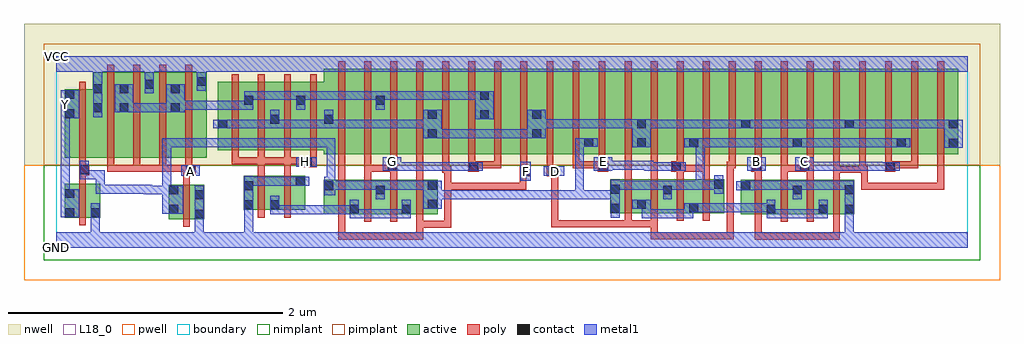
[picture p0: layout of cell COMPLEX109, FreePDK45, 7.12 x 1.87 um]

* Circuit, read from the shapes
.subckt COMPLEX109 A B C D E F G GND H VCC Y
M1 GND n1 Y VSUBS nfet w=0.25u l=0.05u
M2 GND A n1 VSUBS nfet w=0.25u l=0.05u
M3 n2 H GND VSUBS nfet w=0.25u l=0.05u m=2
M4 n2 F n1 VSUBS nfet w=0.25u l=0.05u m=2
M5 n1 G n2 VSUBS nfet w=0.25u l=0.05u m=2
M6 n3 D n1 VSUBS nfet w=0.25u l=0.05u m=2
M7 n3 E n1 VSUBS nfet w=0.25u l=0.05u m=2
M8 n3 B GND VSUBS nfet w=0.25u l=0.05u m=2
M9 GND C n3 VSUBS nfet w=0.25u l=0.05u m=2
M10 VCC n1 Y n4 pfet w=0.5u l=0.05u
M11 n5 A VCC n4 pfet w=0.625u l=0.05u m=4
M12 n5 H n6 n4 pfet w=0.5u l=0.05u m=4
M13 n7 F n6 n4 pfet w=0.625u l=0.05u
M14 n5 G n7 n4 pfet w=0.625u l=0.05u
M15 n8 G n5 n4 pfet w=0.625u l=0.05u
M16 n6 F n8 n4 pfet w=0.625u l=0.05u
M17 n9 F n6 n4 pfet w=0.625u l=0.05u
M18 n5 G n9 n4 pfet w=0.625u l=0.05u
M19 n10 G n5 n4 pfet w=0.625u l=0.05u
M20 n6 F n10 n4 pfet w=0.625u l=0.05u
M21 n11 D n6 n4 pfet w=0.625u l=0.05u
M22 n1 E n11 n4 pfet w=0.625u l=0.05u
M23 n12 E n1 n4 pfet w=0.625u l=0.05u
M24 n6 D n12 n4 pfet w=0.625u l=0.05u
M25 n13 D n6 n4 pfet w=0.625u l=0.05u
M26 n1 E n13 n4 pfet w=0.625u l=0.05u
M27 n14 E n1 n4 pfet w=0.625u l=0.05u
M28 n6 D n14 n4 pfet w=0.625u l=0.05u
M29 n15 B n6 n4 pfet w=0.625u l=0.05u
M30 n1 C n15 n4 pfet w=0.625u l=0.05u
M31 n16 C n1 n4 pfet w=0.625u l=0.05u
M32 n6 B n16 n4 pfet w=0.625u l=0.05u
M33 n17 B n6 n4 pfet w=0.625u l=0.05u
M34 n1 C n17 n4 pfet w=0.625u l=0.05u
M35 n18 C n1 n4 pfet w=0.625u l=0.05u
M36 n6 B n18 n4 pfet w=0.625u l=0.05u
.ends

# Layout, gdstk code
import gdstk
lib = gdstk.Library(unit=1e-6, precision=1e-09)
def R(c, l, rs):  # rectangles x0, y0, x1, y1
    for r in rs: c.add(gdstk.rectangle(r[:2], r[2:], *l))
def A(c, l, x, y, w, h, nx, ny, dx, dy):  # array of equal rectangles
    R(c, l, [(x+i*dx, y+j*dy, x+i*dx+w, y+j*dy+h) for i in range(nx) for j in range(ny)])
active = (1, 0)
pwell = (2, 0)
nwell = (3, 0)
nimplant = (4, 0)
pimplant = (5, 0)
poly = (9, 0)
contact = (10, 0)
metal1 = (11, 0)
L18_0 = (18, 0)
boundary = (235, 0)

complex109 = lib.new_cell('COMPLEX109')
A(complex109, active, 2.137, 0.247, 0.265, 0.25, 3, 1, 0.19, 0)
A(complex109, active, 5.177, 0.247, 0.265, 0.25, 3, 1, 0.19, 0)
A(complex109, active, 4.042, 0.252, 0.265, 0.25, 3, 1, 0.19, 0)
A(complex109, active, 2.177, 0.682, 0.225, 0.625, 5, 1, 0.38, 0)
A(complex109, active, 2.327, 0.682, 0.23, 0.625, 5, 1, 0.38, 0)
A(complex109, active, 4.077, 0.682, 0.23, 0.625, 3, 1, 0.38, 0)
A(complex109, active, 4.232, 0.682, 0.225, 0.625, 3, 1, 0.38, 0)
A(complex109, active, 5.217, 0.682, 0.225, 0.625, 4, 1, 0.38, 0)
A(complex109, active, 5.367, 0.682, 0.23, 0.625, 3, 1, 0.38, 0)
A(complex109, active, 1.177, 0.712, 0.265, 0.5, 3, 1, 0.19, 0)
R(complex109, active, [(0.82,0.21,1.08,0.46), (1.005,0.21,1.08,0.46), (0.062,0.22,0.137,0.47), (0.062,0.22,0.322,0.47), (0.247,0.22,0.322,0.47), (0.82,0.245,0.895,0.46), (1.952,0.247,2.212,0.497), (2.137,0.247,2.212,0.405), (2.517,0.247,2.592,0.387), (4.992,0.247,5.252,0.497), (5.177,0.247,5.252,0.405), (5.557,0.247,5.632,0.387), (5.747,0.247,5.822,0.497), (4.042,0.252,4.117,0.502), (4.612,0.252,4.872,0.502), (4.612,0.255,4.687,0.467), (1.367,0.277,1.442,0.527), (1.367,0.277,1.632,0.527), (1.557,0.277,1.817,0.527), (1.557,0.277,1.632,0.392), (2.707,0.28,2.782,0.497), (4.232,0.282,4.307,0.387), (1.742,0.297,1.817,0.527), (1.952,0.297,2.027,0.497), (2.327,0.297,2.402,0.467), (4.422,0.297,4.497,0.46), (4.797,0.297,4.872,0.502), (4.992,0.297,5.067,0.497), (5.367,0.297,5.442,0.497), (0.062,0.657,0.342,1.157), (0.062,0.657,0.137,1.157), (0.267,0.657,0.532,1.282), (0.457,0.657,0.717,1.282), (0.642,0.657,0.907,1.282), (0.832,0.657,1.097,1.282), (0.457,0.682,0.532,1.2), (0.642,0.682,0.717,1.282), (0.832,0.682,0.907,1.2), (1.022,0.682,1.097,1.282), (1.952,0.682,2.177,1.307), (2.327,0.682,2.402,1.2), (2.707,0.682,2.782,1.07), (3.087,0.682,3.162,1.2), (3.467,0.682,3.542,1.2), (3.847,0.682,3.922,1.07), (4.232,0.682,4.307,1.2), (4.612,0.682,4.687,1.07), (4.992,0.682,5.067,1.2), (5.367,0.682,5.442,1.07), (5.747,0.682,5.822,1.2), (6.127,0.682,6.202,1.07), (6.507,0.682,6.582,1.2), (1.177,0.712,1.252,1.047), (1.747,0.712,2.027,1.212), (1.367,0.72,1.442,1.157), (1.747,0.772,1.822,1.157), (0.267,0.807,0.342,1.282), (1.557,0.807,1.632,1.07), (1.952,0.807,2.027,1.07)])
R(complex109, pwell, [(-0.235,-0.235,6.885,0.602)])
R(complex109, nwell, [(-0.235,0.602,6.885,1.635)])
R(complex109, nimplant, [(-0.09,-0.09,6.74,0.602)])
R(complex109, pimplant, [(-0.09,0.602,6.74,1.49)])
A(complex109, poly, 2.057, 0.192, 0.05, 0.36, 4, 1, 0.19, 0)
A(complex109, poly, 5.097, 0.192, 0.05, 0.36, 4, 1, 0.19, 0)
A(complex109, poly, 4.147, 0.197, 0.05, 0.36, 4, 1, 0.19, 0)
A(complex109, poly, 5.097, 0.502, 0.05, 0.105, 3, 1, 0.19, 0)
A(complex109, poly, 0.372, 0.557, 0.05, 0.095, 4, 1, 0.19, 0)
A(complex109, poly, 0.372, 0.602, 0.05, 0.735, 4, 1, 0.19, 0)
A(complex109, poly, 1.282, 0.612, 0.05, 0.05, 3, 1, 0.19, 0)
A(complex109, poly, 1.282, 0.612, 0.05, 0.095, 4, 1, 0.19, 0)
A(complex109, poly, 2.057, 0.627, 0.05, 0.735, 24, 1, 0.19, 0)
A(complex109, poly, 1.282, 0.657, 0.05, 0.61, 4, 1, 0.19, 0)
R(complex109, poly, [(2.057,0.06,2.107,0.11), (2.057,0.06,2.107,0.11), (2.057,0.06,2.107,0.11), (2.057,0.06,2.107,0.242), (2.057,0.06,2.33,0.11), (2.28,0.06,2.33,0.11), (2.28,0.06,2.33,0.11), (2.28,0.06,2.33,0.11), (2.28,0.06,2.545,0.11), (2.495,0.06,2.545,0.11), (2.495,0.06,2.545,0.11), (2.495,0.06,2.545,0.11), (2.495,0.06,2.677,0.11), (2.627,0.06,2.677,0.197), (5.097,0.06,5.147,0.11), (5.097,0.06,5.147,0.11), (5.097,0.06,5.147,0.11), (5.097,0.06,5.28,0.11), (5.097,0.06,5.147,0.242), (5.23,0.06,5.28,0.11), (5.23,0.06,5.28,0.11), (5.23,0.06,5.28,0.11), (5.23,0.06,5.585,0.11), (5.535,0.06,5.585,0.11), (5.535,0.06,5.585,0.11), (5.535,0.06,5.585,0.11), (5.535,0.06,5.717,0.11), (5.667,0.06,5.717,0.11), (5.667,0.06,5.717,0.242), (4.337,0.065,4.52,0.115), (4.337,0.065,4.387,0.202), (4.47,0.065,4.52,0.115), (4.47,0.065,4.52,0.115), (4.47,0.065,4.52,0.115), (4.47,0.065,4.81,0.115), (4.76,0.065,4.81,0.115), (4.76,0.065,4.81,0.115), (4.76,0.065,4.81,0.115), (4.76,0.065,4.942,0.115), (4.892,0.065,4.942,0.115), (4.892,0.065,4.942,0.115), (4.892,0.065,4.942,0.115), (4.892,0.065,4.942,0.63), (2.627,0.147,2.677,0.242), (2.627,0.147,2.882,0.197), (2.832,0.147,2.882,0.197), (2.832,0.147,2.882,0.197), (2.832,0.147,2.882,0.197), (2.832,0.147,2.882,0.475), (3.612,0.152,3.662,0.202), (3.612,0.152,3.662,0.202), (3.612,0.152,3.662,0.202), (3.612,0.152,3.662,0.202), (3.612,0.152,3.662,0.202), (3.612,0.152,3.662,0.202), (3.612,0.152,3.662,0.202), (3.612,0.152,3.87,0.202), (3.612,0.152,3.662,0.572), (3.82,0.152,3.87,0.202), (3.82,0.152,3.87,0.202), (3.82,0.152,3.87,0.202), (3.82,0.152,4.065,0.202), (4.015,0.152,4.065,0.202), (4.015,0.152,4.197,0.202), (4.147,0.152,4.197,0.202), (4.147,0.152,4.197,0.202), (4.147,0.152,4.197,0.202), (4.147,0.152,4.197,0.247), (4.147,0.152,4.387,0.202), (4.337,0.152,4.387,0.202), (4.337,0.152,4.387,0.202), (4.337,0.152,4.387,0.247), (0.925,0.155,0.975,0.515), (0.167,0.165,0.217,0.525), (1.472,0.222,1.522,0.582), (1.662,0.222,1.712,0.582), (2.832,0.425,2.882,0.475), (2.832,0.425,2.882,0.475), (2.832,0.425,2.882,0.475), (2.832,0.425,3.015,0.475), (2.832,0.425,2.882,0.597), (2.965,0.425,3.015,0.475), (2.965,0.425,3.015,0.475), (2.965,0.425,3.015,0.475), (2.965,0.425,3.215,0.475), (3.165,0.425,3.215,0.475), (3.165,0.425,3.215,0.475), (3.165,0.425,3.215,0.475), (3.165,0.425,3.43,0.475), (3.38,0.425,3.43,0.475), (3.38,0.425,3.43,0.475), (3.38,0.425,3.43,0.475), (3.38,0.425,3.43,0.572), (5.872,0.425,5.922,0.475), (5.872,0.425,5.922,0.475), (5.872,0.425,5.922,0.475), (5.872,0.425,5.922,0.475), (5.872,0.425,5.922,0.475), (5.872,0.425,6.055,0.475), (5.872,0.425,5.922,0.597), (6.005,0.425,6.055,0.475), (6.005,0.425,6.345,0.475), (6.295,0.425,6.345,0.475), (6.295,0.425,6.345,0.475), (6.295,0.425,6.345,0.475), (6.295,0.425,6.477,0.475), (6.427,0.425,6.477,0.677), (6.427,0.425,6.477,0.475), (6.427,0.425,6.477,0.475), (6.427,0.425,6.477,0.475), (6.427,0.425,6.477,0.475), (6.427,0.425,6.477,0.475), (6.427,0.425,6.477,0.475), (6.427,0.425,6.477,0.475), (0.925,0.465,0.975,0.582), (0.167,0.475,0.217,0.582), (2.057,0.502,2.107,0.597), (2.247,0.502,2.297,0.607), (2.437,0.502,2.487,0.607), (2.627,0.502,2.677,0.632), (5.667,0.502,5.717,0.597), (4.147,0.507,4.197,0.602), (4.337,0.507,4.387,0.632), (4.527,0.507,4.577,0.607), (4.717,0.507,4.767,0.607), (3.38,0.522,3.43,0.572), (3.38,0.522,3.43,0.572), (3.38,0.522,3.455,0.597), (3.577,0.522,3.662,0.597), (0.167,0.532,0.242,0.607), (0.925,0.532,1.017,0.607), (1.472,0.532,1.522,0.662), (1.662,0.532,1.712,0.662), (2.057,0.547,2.107,0.597), (2.057,0.547,2.107,0.677), (2.817,0.547,2.867,0.677), (2.817,0.547,2.882,0.597), (3.387,0.547,3.437,0.677), (3.577,0.547,3.627,0.677), (5.667,0.547,5.717,0.597), (5.667,0.547,5.717,0.597), (5.667,0.547,5.717,0.597), (5.667,0.547,5.717,0.677), (5.667,0.547,5.907,0.597), (5.857,0.547,5.907,0.677), (5.857,0.547,5.922,0.597), (4.147,0.552,4.197,0.602), (4.147,0.552,4.197,0.677), (0.167,0.557,0.217,0.652), (0.372,0.557,0.422,0.607), (0.372,0.557,0.422,0.607), (0.372,0.557,0.422,0.607), (0.372,0.557,0.612,0.607), (0.562,0.557,0.612,0.607), (0.562,0.557,0.612,0.607), (0.562,0.557,0.612,0.607), (0.562,0.557,0.802,0.607), (0.752,0.557,0.802,0.607), (0.752,0.557,0.975,0.607), (0.925,0.557,0.975,0.607), (0.925,0.557,0.975,0.607), (2.247,0.557,2.297,0.607), (2.247,0.557,2.297,0.607), (2.247,0.557,2.297,0.607), (2.247,0.557,2.462,0.607), (2.247,0.557,2.297,0.677), (2.412,0.557,2.487,0.632), (3.007,0.557,3.082,0.632), (3.952,0.557,4.027,0.632), (4.487,0.557,4.577,0.632), (4.527,0.557,4.767,0.607), (4.717,0.557,4.767,0.607), (4.717,0.557,4.767,0.607), (4.717,0.557,4.767,0.607), (4.717,0.557,4.767,0.677), (5.072,0.557,5.147,0.632), (5.287,0.557,5.337,0.607), (5.287,0.557,5.337,0.607), (5.287,0.557,5.337,0.607), (5.287,0.557,5.472,0.607), (5.287,0.557,5.337,0.677), (5.422,0.557,5.527,0.632), (6.047,0.557,6.122,0.632), (4.892,0.58,4.942,0.63), (4.892,0.58,4.942,0.63), (4.892,0.58,4.942,0.63), (4.892,0.58,4.942,0.63), (4.892,0.58,4.957,0.63), (4.907,0.58,4.957,0.677), (2.437,0.582,2.487,0.677), (2.627,0.582,2.677,0.632), (2.627,0.582,2.677,0.677), (3.007,0.582,3.057,0.677), (3.032,0.582,3.247,0.632), (3.197,0.582,3.247,0.632), (3.197,0.582,3.247,0.632), (3.197,0.582,3.247,0.632), (3.197,0.582,3.247,0.677), (3.767,0.582,3.817,0.632), (3.767,0.582,3.817,0.632), (3.767,0.582,3.817,0.632), (3.767,0.582,3.817,0.677), (3.767,0.582,4.002,0.632), (3.957,0.582,4.007,0.677), (4.337,0.582,4.387,0.632), (4.337,0.582,4.387,0.677), (4.527,0.582,4.577,0.677), (5.097,0.582,5.147,0.677), (5.477,0.582,5.527,0.677), (6.047,0.582,6.097,0.677), (6.072,0.582,6.122,0.632), (6.072,0.582,6.122,0.632), (6.072,0.582,6.287,0.632), (6.237,0.582,6.287,0.632), (6.237,0.582,6.287,0.677), (1.795,0.587,1.902,0.662), (0.167,0.602,0.217,1.212), (1.282,0.612,1.332,0.662), (1.282,0.612,1.332,0.662), (1.282,0.612,1.522,0.662), (1.472,0.612,1.712,0.662), (1.662,0.612,1.712,0.662), (1.662,0.612,1.712,0.662), (1.662,0.612,1.845,0.662), (1.795,0.612,1.845,0.662), (1.795,0.612,1.845,0.662)])
R(complex109, contact, [(1.01,0.215,1.075,0.28), (0.067,0.225,0.132,0.29), (0.252,0.225,0.317,0.29), (0.825,0.25,0.89,0.315), (2.142,0.252,2.207,0.317), (2.522,0.252,2.587,0.317), (5.182,0.252,5.247,0.317), (5.562,0.252,5.627,0.317), (5.752,0.252,5.817,0.317), (4.047,0.257,4.112,0.322), (4.617,0.26,4.682,0.325), (1.372,0.282,1.437,0.347), (1.562,0.282,1.627,0.347), (2.712,0.285,2.777,0.35), (4.237,0.287,4.302,0.352), (1.01,0.355,1.075,0.42), (0.067,0.365,0.132,0.43), (0.825,0.39,0.89,0.455), (2.332,0.39,2.397,0.455), (4.427,0.39,4.492,0.455), (5.372,0.39,5.437,0.455), (5.752,0.392,5.817,0.457), (4.047,0.397,4.112,0.462), (1.957,0.42,2.022,0.485), (1.372,0.422,1.437,0.487), (4.997,0.422,5.062,0.487), (2.712,0.425,2.777,0.49), (4.802,0.432,4.867,0.497), (1.747,0.452,1.812,0.517), (3.385,0.527,3.45,0.592), (3.592,0.527,3.657,0.592), (0.172,0.537,0.237,0.602), (0.947,0.537,1.012,0.602), (2.417,0.562,2.482,0.627), (3.012,0.562,3.077,0.627), (3.957,0.562,4.022,0.627), (4.492,0.562,4.557,0.627), (5.077,0.562,5.142,0.627), (5.427,0.562,5.492,0.627), (6.052,0.562,6.117,0.627), (1.8,0.592,1.865,0.657), (6.512,0.732,6.577,0.797), (4.237,0.735,4.302,0.8), (4.617,0.735,4.682,0.8), (5.372,0.735,5.437,0.8), (6.132,0.735,6.197,0.8), (3.852,0.737,3.917,0.802), (2.712,0.802,2.777,0.867), (3.472,0.802,3.537,0.867), (1.182,0.872,1.247,0.937), (4.997,0.872,5.062,0.937), (5.752,0.872,5.817,0.937), (6.512,0.872,6.577,0.937), (4.237,0.875,4.302,0.94), (1.562,0.907,1.627,0.972), (1.957,0.907,2.022,0.972), (3.092,0.94,3.157,1.005), (2.712,0.942,2.777,1.007), (3.472,0.942,3.537,1.007), (0.067,0.947,0.132,1.012), (0.272,0.99,0.337,1.055), (0.462,0.99,0.527,1.055), (0.837,0.99,0.902,1.055), (1.372,1.045,1.437,1.11), (1.752,1.045,1.817,1.11), (2.332,1.045,2.397,1.11), (3.092,1.08,3.157,1.145), (0.067,1.087,0.132,1.152), (0.272,1.13,0.337,1.195), (0.462,1.13,0.527,1.195), (0.837,1.13,0.902,1.195), (0.647,1.162,0.712,1.227), (1.027,1.182,1.092,1.247)])
R(complex109, metal1, [(0,0,6.65,0.115), (0.252,0.05,0.317,0.255), (1.01,0.05,1.075,0.245), (1.372,0.05,1.437,0.115), (1.372,0.05,1.437,0.115), (1.372,0.05,1.437,0.312), (5.752,0.05,5.817,0.115), (5.752,0.05,5.817,0.115), (5.752,0.05,5.817,0.282), (1.01,0.18,1.075,0.245), (1.01,0.18,1.075,0.245), (1.01,0.18,1.075,0.245), (1.01,0.18,1.075,0.245), (1.01,0.18,1.075,0.455), (0.252,0.19,0.317,0.255), (0.252,0.19,0.317,0.255), (0.252,0.19,0.317,0.255), (0.252,0.19,0.317,0.255), (0.252,0.19,0.317,0.325), (2.142,0.217,2.207,0.282), (2.142,0.217,2.207,0.282), (2.142,0.217,2.207,0.352), (2.142,0.217,2.397,0.282), (2.332,0.217,2.397,0.282), (2.332,0.217,2.397,0.282), (2.332,0.217,2.397,0.282), (2.332,0.217,2.587,0.282), (2.522,0.217,2.587,0.352), (4.272,0.217,4.337,0.282), (4.272,0.217,4.337,0.282), (4.272,0.217,4.337,0.282), (4.272,0.217,4.337,0.352), (4.272,0.217,4.51,0.282), (4.445,0.217,4.51,0.282), (4.445,0.217,4.51,0.282), (4.445,0.217,4.51,0.282), (4.445,0.217,4.647,0.282), (4.582,0.217,4.647,0.282), (4.582,0.217,4.647,0.325), (5.182,0.217,5.247,0.282), (5.182,0.217,5.247,0.282), (5.182,0.217,5.247,0.352), (5.182,0.217,5.49,0.282), (5.425,0.217,5.49,0.282), (5.425,0.217,5.49,0.282), (5.425,0.217,5.49,0.282), (5.425,0.217,5.627,0.282), (5.562,0.217,5.627,0.352), (5.752,0.217,5.817,0.282), (5.752,0.217,5.817,0.282), (5.752,0.217,5.817,0.492), (4.047,0.222,4.112,0.497), (0.032,0.225,0.167,0.43), (1.372,0.247,1.437,0.312), (1.372,0.247,1.437,0.312), (1.372,0.247,1.437,0.522), (1.562,0.247,1.627,0.312), (1.562,0.247,1.627,0.312), (1.562,0.247,1.765,0.312), (1.562,0.247,1.627,0.382), (1.7,0.247,1.765,0.312), (1.7,0.247,1.765,0.312), (1.7,0.247,1.765,0.312), (1.7,0.247,2.07,0.312), (2.005,0.247,2.07,0.312), (2.005,0.247,2.07,0.312), (2.005,0.247,2.07,0.312), (2.005,0.247,2.207,0.312), (0.775,0.25,0.925,0.455), (4.582,0.26,4.717,0.325), (4.652,0.26,4.73,0.325), (4.665,0.26,4.73,0.325), (4.665,0.26,4.867,0.325), (4.802,0.26,4.867,0.325), (4.802,0.26,4.867,0.325), (4.802,0.26,4.867,0.325), (4.802,0.26,5.005,0.325), (4.94,0.26,5.005,0.325), (4.94,0.26,5.005,0.325), (4.94,0.26,5.005,0.325), (4.94,0.26,5.247,0.325), (2.677,0.285,2.812,0.49), (4.202,0.287,4.337,0.352), (2.332,0.355,2.397,0.49), (2.747,0.355,2.812,0.42), (2.747,0.355,2.812,0.42), (2.747,0.355,2.985,0.42), (2.92,0.355,2.985,0.42), (2.92,0.355,2.985,0.42), (2.92,0.355,2.985,0.42), (2.92,0.355,3.122,0.42), (3.057,0.355,3.122,0.42), (3.057,0.355,3.122,0.42), (3.057,0.355,3.122,0.42), (3.057,0.355,3.365,0.42), (3.3,0.355,3.365,0.42), (3.3,0.355,3.365,0.42), (3.3,0.355,3.365,0.42), (3.3,0.355,3.502,0.42), (3.437,0.355,3.502,0.42), (3.437,0.355,3.502,0.42), (3.437,0.355,3.502,0.42), (3.437,0.355,3.71,0.42), (3.645,0.355,3.71,0.42), (3.645,0.355,3.71,0.42), (3.645,0.355,3.71,0.42), (3.645,0.355,3.85,0.42), (3.785,0.355,3.85,0.42), (3.785,0.355,3.85,0.42), (3.785,0.355,3.85,0.42), (3.785,0.355,3.85,0.42), (3.785,0.355,3.85,0.42), (3.785,0.355,4.112,0.42), (3.785,0.355,3.85,0.802), (4.427,0.355,4.492,0.49), (5.372,0.355,5.437,0.49), (0.032,0.365,0.097,0.43), (0.032,0.365,0.097,0.43), (0.032,0.365,0.097,1.012), (1.957,0.385,2.037,0.52), (0.637,0.39,0.84,0.455), (0.637,0.39,0.702,0.462), (0.775,0.39,0.84,0.8), (0.29,0.397,0.355,0.462), (0.29,0.397,0.375,0.462), (0.29,0.397,0.355,0.567), (0.31,0.397,0.375,0.462), (0.31,0.397,0.512,0.462), (0.447,0.397,0.512,0.462), (0.447,0.397,0.512,0.462), (0.447,0.397,0.512,0.462), (0.447,0.397,0.702,0.462), (0.637,0.397,0.702,0.462), (0.637,0.397,0.702,0.462), (4.802,0.397,4.867,0.532), (4.962,0.422,5.097,0.487), (5.032,0.422,5.097,0.487), (5.032,0.422,5.097,0.49), (1.972,0.425,2.037,0.49), (1.972,0.425,2.037,0.49), (1.972,0.425,2.207,0.49), (2.142,0.425,2.207,0.49), (2.142,0.425,2.207,0.49), (2.142,0.425,2.207,0.49), (2.142,0.425,2.397,0.49), (2.332,0.425,2.535,0.49), (2.47,0.425,2.535,0.49), (2.47,0.425,2.535,0.49), (2.47,0.425,2.535,0.49), (2.47,0.425,2.672,0.49), (2.607,0.425,2.672,0.49), (2.607,0.425,2.742,0.49), (4.047,0.425,4.195,0.49), (4.13,0.425,4.195,0.49), (4.13,0.425,4.355,0.49), (4.29,0.425,4.355,0.49), (4.29,0.425,4.355,0.49), (4.29,0.425,4.355,0.49), (4.29,0.425,4.492,0.49), (4.427,0.425,4.492,0.49), (4.427,0.425,4.492,0.49), (4.427,0.425,4.73,0.49), (4.665,0.425,4.73,0.49), (4.665,0.425,4.73,0.49), (4.665,0.425,4.73,0.49), (4.665,0.425,4.73,0.49), (4.665,0.425,4.73,0.49), (4.665,0.425,4.867,0.49), (4.665,0.425,4.73,0.8), (5.032,0.425,5.265,0.49), (5.2,0.425,5.265,0.49), (5.2,0.425,5.265,0.49), (5.2,0.425,5.265,0.49), (5.2,0.425,5.437,0.49), (5.372,0.425,5.627,0.49), (5.562,0.425,5.627,0.49), (5.562,0.425,5.627,0.49), (5.562,0.425,5.627,0.49), (5.562,0.425,5.782,0.49), (5.717,0.425,5.782,0.492), (5.717,0.427,5.817,0.492), (5.752,0.427,5.817,0.492), (5.752,0.427,5.817,0.492), (1.712,0.452,1.847,0.52), (1.372,0.455,1.437,0.522), (1.372,0.455,1.627,0.52), (1.562,0.455,1.627,0.52), (1.562,0.455,1.627,0.52), (1.562,0.455,1.627,0.52), (1.562,0.455,1.777,0.52), (1.972,0.455,2.037,0.8), (1.372,0.457,1.437,0.522), (1.372,0.457,1.437,0.522), (1.372,0.457,1.437,0.522), (3.385,0.492,3.462,0.63), (0.172,0.502,0.237,0.637), (0.172,0.502,0.355,0.567), (0.29,0.502,0.355,0.567), (0.912,0.527,1.047,0.605), (3.557,0.527,3.707,0.595), (2.382,0.562,2.517,0.662), (2.452,0.562,2.605,0.627), (2.54,0.562,2.605,0.627), (2.54,0.562,2.675,0.627), (2.61,0.562,2.675,0.627), (2.61,0.562,2.812,0.627), (2.747,0.562,2.812,0.627), (2.747,0.562,2.812,0.627), (2.747,0.562,2.812,0.627), (2.747,0.562,2.95,0.627), (2.885,0.562,2.95,0.627), (2.885,0.562,3.042,0.627), (2.977,0.562,3.112,0.627), (3.922,0.562,4.057,0.662), (4.29,0.562,4.355,0.627), (4.29,0.562,4.355,0.627), (4.29,0.562,4.51,0.627), (4.29,0.562,4.355,0.635), (4.445,0.562,4.51,0.627), (4.445,0.562,4.522,0.627), (4.457,0.562,4.592,0.627), (5.042,0.562,5.177,0.662), (5.392,0.562,5.527,0.662), (5.96,0.562,6.082,0.627), (5.96,0.562,6.025,0.63), (6.017,0.562,6.152,0.627), (5.462,0.565,5.627,0.63), (5.562,0.565,5.627,0.63), (5.562,0.565,5.787,0.63), (5.722,0.565,5.787,0.63), (5.722,0.565,5.787,0.63), (5.722,0.565,5.787,0.63), (5.722,0.565,5.925,0.63), (5.86,0.565,5.925,0.63), (5.86,0.565,6.025,0.63), (3.992,0.57,4.057,0.635), (3.992,0.57,4.057,0.635), (3.992,0.57,4.195,0.635), (4.13,0.57,4.195,0.635), (4.13,0.57,4.355,0.635), (1.752,0.592,1.9,0.662), (6.477,0.732,6.612,0.937), (0.775,0.735,0.84,0.8), (0.775,0.735,0.84,0.8), (0.775,0.735,0.84,0.8), (0.775,0.735,0.88,0.8), (0.815,0.735,0.88,0.8), (0.815,0.735,1.075,0.8), (1.01,0.735,1.075,0.8), (1.01,0.735,1.075,0.8), (1.01,0.735,1.075,0.8), (1.01,0.735,1.212,0.8), (1.147,0.735,1.212,0.8), (1.147,0.735,1.437,0.8), (1.372,0.735,1.437,0.8), (1.372,0.735,1.437,0.8), (1.372,0.735,1.437,0.8), (1.372,0.735,1.627,0.8), (1.562,0.735,1.627,0.8), (1.562,0.735,1.627,0.8), (1.562,0.735,1.627,0.8), (1.562,0.735,1.765,0.8), (1.7,0.735,1.765,0.8), (1.7,0.735,1.765,0.8), (1.7,0.735,1.765,0.8), (1.7,0.735,2.037,0.8), (1.972,0.735,2.037,0.8), (1.972,0.735,2.037,0.8), (1.972,0.735,2.037,0.8), (4.202,0.735,4.337,0.94), (4.582,0.735,4.73,0.8), (4.665,0.735,4.73,0.8), (4.665,0.735,4.73,0.8), (4.665,0.735,4.867,0.8), (4.802,0.735,4.867,0.8), (4.802,0.735,4.867,0.8), (4.802,0.735,4.867,0.8), (4.802,0.735,5.11,0.8), (5.045,0.735,5.11,0.8), (5.045,0.735,5.11,0.8), (5.045,0.735,5.11,0.8), (5.045,0.735,5.265,0.8), (5.2,0.735,5.265,0.8), (5.2,0.735,5.265,0.8), (5.2,0.735,5.265,0.8), (5.2,0.735,5.402,0.8), (5.337,0.735,5.472,0.8), (5.407,0.735,5.645,0.8), (5.58,0.735,5.645,0.8), (5.58,0.735,5.645,0.8), (5.58,0.735,5.645,0.8), (5.58,0.735,5.787,0.8), (5.722,0.735,5.787,0.8), (5.722,0.735,5.787,0.8), (5.722,0.735,5.787,0.8), (5.722,0.735,5.925,0.8), (5.86,0.735,5.925,0.8), (5.86,0.735,6.025,0.8), (5.96,0.735,6.025,0.8), (5.96,0.735,6.162,0.8), (6.097,0.735,6.162,0.8), (6.097,0.735,6.162,0.8), (6.097,0.735,6.232,0.8), (3.785,0.737,3.952,0.802), (2.677,0.802,2.812,1.007), (2.747,0.802,2.812,0.867), (2.747,0.802,2.812,0.867), (2.747,0.802,2.985,0.867), (2.92,0.802,2.985,0.867), (2.92,0.802,2.985,0.867), (2.92,0.802,2.985,0.867), (2.92,0.802,3.122,0.867), (3.057,0.802,3.122,0.867), (3.057,0.802,3.122,0.867), (3.057,0.802,3.122,0.867), (3.057,0.802,3.26,0.867), (3.195,0.802,3.26,0.867), (3.195,0.802,3.26,0.867), (3.195,0.802,3.26,0.867), (3.195,0.802,3.502,0.867), (3.437,0.802,3.572,1.007), (1.147,0.872,1.282,0.937), (1.217,0.872,1.282,0.937), (1.217,0.872,1.282,0.937), (1.217,0.872,1.49,0.937), (1.425,0.872,1.49,0.937), (1.425,0.872,1.49,0.937), (1.425,0.872,1.49,0.937), (1.425,0.872,1.627,0.937), (1.562,0.872,1.627,0.937), (1.562,0.872,1.627,0.937), (1.562,0.872,1.765,0.937), (1.562,0.872,1.627,1.007), (1.7,0.872,1.765,0.937), (1.7,0.872,1.765,0.937), (1.7,0.872,1.765,0.937), (1.7,0.872,2.022,0.937), (1.957,0.872,2.022,1.007), (1.957,0.872,2.037,0.937), (1.972,0.872,2.037,0.937), (1.972,0.872,2.26,0.937), (2.195,0.872,2.26,0.937), (2.195,0.872,2.26,0.937), (2.195,0.872,2.26,0.937), (2.195,0.872,2.397,0.937), (2.332,0.872,2.397,0.937), (2.332,0.872,2.397,0.937), (2.332,0.872,2.397,0.937), (2.332,0.872,2.605,0.937), (2.54,0.872,2.605,0.937), (2.54,0.872,2.675,0.937), (2.61,0.872,2.675,0.937), (2.61,0.872,2.742,0.937), (4.272,0.872,4.337,0.937), (4.272,0.872,4.337,0.937), (4.272,0.872,4.51,0.937), (4.445,0.872,4.51,0.937), (4.445,0.872,4.51,0.937), (4.445,0.872,4.51,0.937), (4.445,0.872,4.73,0.937), (4.665,0.872,4.73,0.937), (4.665,0.872,4.73,0.937), (4.665,0.872,4.73,0.937), (4.665,0.872,4.867,0.937), (4.802,0.872,4.867,0.937), (4.802,0.872,4.867,0.937), (4.802,0.872,4.867,0.937), (4.802,0.872,5.027,0.937), (4.962,0.872,5.097,0.937), (5.032,0.872,5.097,0.937), (5.032,0.872,5.097,0.937), (5.032,0.872,5.265,0.937), (5.2,0.872,5.265,0.937), (5.2,0.872,5.265,0.937), (5.2,0.872,5.265,0.937), (5.2,0.872,5.49,0.937), (5.425,0.872,5.49,0.937), (5.425,0.872,5.49,0.937), (5.425,0.872,5.49,0.937), (5.425,0.872,5.645,0.937), (5.58,0.872,5.645,0.937), (5.58,0.872,5.782,0.937), (5.717,0.872,5.782,0.937), (5.717,0.872,5.782,0.937), (5.717,0.872,5.852,0.937), (5.787,0.872,5.925,0.937), (5.86,0.872,5.925,0.937), (5.86,0.872,6.025,0.937), (5.96,0.872,6.025,0.937), (5.96,0.872,6.162,0.937), (6.097,0.872,6.162,0.937), (6.097,0.872,6.162,0.937), (6.097,0.872,6.162,0.937), (6.097,0.872,6.3,0.937), (6.235,0.872,6.3,0.937), (6.235,0.872,6.3,0.937), (6.235,0.872,6.3,0.937), (6.235,0.872,6.542,0.937), (6.477,0.872,6.542,0.937), (6.477,0.872,6.542,0.937), (3.507,0.875,3.572,0.94), (3.507,0.875,3.572,0.94), (3.507,0.875,3.71,0.94), (3.645,0.875,3.71,0.94), (3.645,0.875,3.71,0.94), (3.645,0.875,3.71,0.94), (3.645,0.875,3.847,0.94), (3.782,0.875,3.847,0.94), (3.782,0.875,3.987,0.94), (3.922,0.875,3.987,0.94), (3.922,0.875,3.987,0.94), (3.922,0.875,3.987,0.94), (3.922,0.875,4.195,0.94), (4.13,0.875,4.195,0.94), (4.13,0.875,4.267,0.94), (3.057,0.94,3.192,1.145), (0.032,0.947,0.097,1.012), (0.032,0.947,0.097,1.012), (0.032,0.947,0.167,1.152), (0.272,0.955,0.337,1.23), (0.427,0.99,0.562,1.195), (0.497,0.99,0.562,1.055), (0.497,0.99,0.562,1.055), (0.497,0.99,0.7,1.055), (0.635,0.99,0.7,1.055), (0.635,0.99,0.7,1.055), (0.635,0.99,0.7,1.055), (0.635,0.99,0.867,1.055), (0.802,0.99,0.937,1.195), (0.872,1.01,0.937,1.075), (0.872,1.01,0.937,1.075), (0.872,1.01,1.075,1.075), (1.01,1.01,1.075,1.075), (1.01,1.01,1.075,1.075), (1.01,1.01,1.075,1.075), (1.01,1.01,1.212,1.075), (1.147,1.01,1.212,1.075), (1.147,1.01,1.437,1.075), (1.372,1.01,1.437,1.145), (1.752,1.01,1.817,1.145), (2.332,1.01,2.397,1.145), (1.372,1.08,1.437,1.145), (1.372,1.08,1.437,1.145), (1.372,1.08,1.627,1.145), (1.562,1.08,1.627,1.145), (1.562,1.08,1.627,1.145), (1.562,1.08,1.627,1.145), (1.562,1.08,1.817,1.145), (1.752,1.08,1.817,1.145), (1.752,1.08,1.817,1.145), (1.752,1.08,2.07,1.145), (2.005,1.08,2.07,1.145), (2.005,1.08,2.07,1.145), (2.005,1.08,2.07,1.145), (2.005,1.08,2.207,1.145), (2.142,1.08,2.207,1.145), (2.142,1.08,2.207,1.145), (2.142,1.08,2.207,1.145), (2.142,1.08,2.397,1.145), (2.332,1.08,2.397,1.145), (2.332,1.08,2.397,1.145), (2.332,1.08,2.605,1.145), (2.54,1.08,2.605,1.145), (2.54,1.08,2.672,1.145), (2.607,1.08,2.672,1.145), (2.607,1.08,2.812,1.145), (2.747,1.08,2.812,1.145), (2.747,1.08,2.812,1.145), (2.747,1.08,2.812,1.145), (2.747,1.08,2.95,1.145), (2.885,1.08,2.95,1.145), (2.885,1.08,2.95,1.145), (2.885,1.08,2.95,1.145), (2.885,1.08,3.122,1.145), (0.647,1.127,0.712,1.262), (1.027,1.147,1.092,1.282), (0.272,1.165,0.337,1.35), (0.647,1.197,0.712,1.35), (1.027,1.217,1.092,1.35), (0,1.285,6.65,1.4)])
R(complex109, L18_0, [(0,0,6.65,0.115), (0.252,0.05,0.317,0.255), (1.01,0.05,1.075,0.245), (1.372,0.05,1.437,0.115), (1.372,0.05,1.437,0.115), (1.372,0.05,1.437,0.312), (5.752,0.05,5.817,0.115), (5.752,0.05,5.817,0.115), (5.752,0.05,5.817,0.282), (1.01,0.18,1.075,0.245), (1.01,0.18,1.075,0.245), (1.01,0.18,1.075,0.245), (1.01,0.18,1.075,0.245), (1.01,0.18,1.075,0.455), (0.252,0.19,0.317,0.255), (0.252,0.19,0.317,0.255), (0.252,0.19,0.317,0.255), (0.252,0.19,0.317,0.255), (0.252,0.19,0.317,0.325), (5.752,0.217,5.817,0.282), (5.752,0.217,5.817,0.282), (5.752,0.217,5.817,0.492), (0.032,0.225,0.167,0.43), (1.372,0.247,1.437,0.312), (1.372,0.247,1.437,0.312), (1.372,0.247,1.437,0.522), (5.372,0.355,5.437,0.49), (0.032,0.365,0.097,0.43), (0.032,0.365,0.097,0.43), (0.032,0.365,0.097,1.012), (4.962,0.422,5.097,0.487), (5.032,0.422,5.097,0.487), (5.032,0.422,5.097,0.49), (5.032,0.425,5.265,0.49), (5.2,0.425,5.265,0.49), (5.2,0.425,5.265,0.49), (5.2,0.425,5.265,0.49), (5.2,0.425,5.437,0.49), (5.372,0.425,5.627,0.49), (5.562,0.425,5.627,0.49), (5.562,0.425,5.627,0.49), (5.562,0.425,5.627,0.49), (5.562,0.425,5.782,0.49), (5.717,0.425,5.782,0.492), (5.717,0.427,5.817,0.492), (5.752,0.427,5.817,0.492), (5.752,0.427,5.817,0.492), (1.712,0.452,1.847,0.52), (1.372,0.455,1.437,0.522), (1.372,0.455,1.627,0.52), (1.562,0.455,1.627,0.52), (1.562,0.455,1.627,0.52), (1.562,0.455,1.627,0.52), (1.562,0.455,1.777,0.52), (1.372,0.457,1.437,0.522), (1.372,0.457,1.437,0.522), (1.372,0.457,1.437,0.522), (3.385,0.492,3.462,0.63), (0.912,0.527,1.047,0.605), (0.947,0.527,1.012,0.592), (3.397,0.527,3.462,0.592), (3.557,0.527,3.707,0.595), (3.607,0.527,3.672,0.592), (2.382,0.562,2.517,0.662), (2.452,0.562,2.605,0.627), (2.54,0.562,2.605,0.627), (2.54,0.562,2.675,0.627), (2.61,0.562,2.675,0.627), (2.61,0.562,2.812,0.627), (2.747,0.562,2.812,0.627), (2.747,0.562,2.812,0.627), (2.747,0.562,2.812,0.627), (2.747,0.562,2.95,0.627), (2.885,0.562,2.95,0.627), (2.885,0.562,3.042,0.627), (2.977,0.562,3.112,0.627), (3.922,0.562,4.057,0.662), (4.29,0.562,4.355,0.627), (4.29,0.562,4.355,0.627), (4.29,0.562,4.355,0.635), (4.29,0.562,4.51,0.627), (4.445,0.562,4.51,0.627), (4.445,0.562,4.522,0.627), (4.457,0.562,4.592,0.627), (5.042,0.562,5.177,0.662), (5.392,0.562,5.527,0.662), (5.96,0.562,6.025,0.63), (5.96,0.562,6.082,0.627), (6.017,0.562,6.152,0.627), (5.462,0.565,5.627,0.63), (5.562,0.565,5.627,0.63), (5.562,0.565,5.787,0.63), (5.722,0.565,5.787,0.63), (5.722,0.565,5.787,0.63), (5.722,0.565,5.787,0.63), (5.722,0.565,5.925,0.63), (5.86,0.565,5.925,0.63), (5.86,0.565,6.025,0.63), (3.992,0.57,4.057,0.635), (3.992,0.57,4.057,0.635), (3.992,0.57,4.195,0.635), (4.13,0.57,4.195,0.635), (4.13,0.57,4.355,0.635), (1.752,0.592,1.9,0.662), (1.787,0.597,1.852,0.662), (2.417,0.597,2.482,0.662), (3.957,0.597,4.022,0.662), (5.077,0.597,5.142,0.662), (5.427,0.597,5.492,0.662), (0.032,0.947,0.167,1.152), (0.032,0.947,0.097,1.012), (0.032,0.947,0.097,1.012), (0.272,0.955,0.337,1.23), (0.037,1.017,0.102,1.082), (0.647,1.127,0.712,1.262), (1.027,1.147,1.092,1.282), (0.272,1.165,0.337,1.35), (0.647,1.197,0.712,1.35), (1.027,1.217,1.092,1.35), (0,1.285,6.65,1.4)])
R(complex109, boundary, [(0,0,6.65,1.4)])
complex109.add(gdstk.Label('A', (0.98,0.56), layer=11, texttype=0))
complex109.add(gdstk.Label('B', (5.11,0.63), layer=11, texttype=0))
complex109.add(gdstk.Label('C', (5.46,0.63), layer=11, texttype=0))
complex109.add(gdstk.Label('D', (3.64,0.56), layer=11, texttype=0))
complex109.add(gdstk.Label('E', (3.99,0.63), layer=11, texttype=0))
complex109.add(gdstk.Label('F', (3.43,0.56), layer=11, texttype=0))
complex109.add(gdstk.Label('G', (2.45,0.63), layer=11, texttype=0))
complex109.add(gdstk.Label('H', (1.82,0.63), layer=11, texttype=0))
complex109.add(gdstk.Label('Y', (0.07,1.05), layer=11, texttype=0))
complex109.add(gdstk.Label('VCC', (0,1.4), layer=11, texttype=0))
complex109.add(gdstk.Label('GND', (0,0), layer=11, texttype=0))

lib.write_gds('COMPLEX109.gds')
